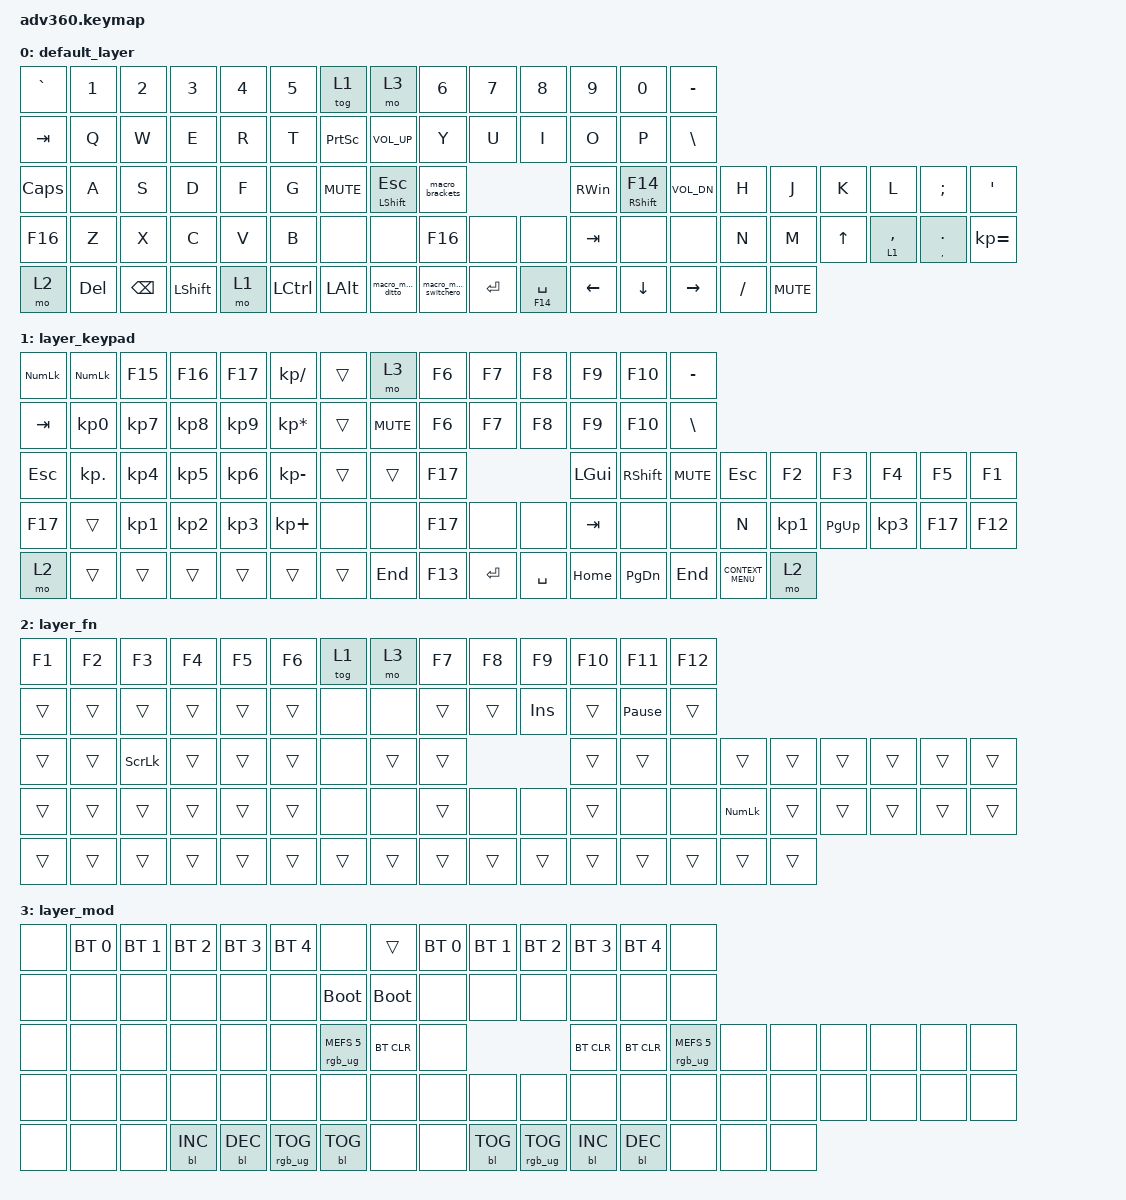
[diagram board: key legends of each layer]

/*
 * Copyright (c) 2020 The ZMK Contributors
 *
 * SPDX-License-Identifier: MIT
 */


/* THIS FILE WAS GENERATED!
 *
 * This file was generated automatically. You may or may not want to
 * edit it directly.
 */

#include <behaviors.dtsi>
#include <dt-bindings/zmk/keys.h>
#include <dt-bindings/zmk/bt.h>
#include <dt-bindings/zmk/rgb.h>
#include <dt-bindings/zmk/backlight.h>

/ {
  behaviors {
    #include "macros.dtsi"

    hm: homerow_mods {
        compatible = "zmk,behavior-hold-tap";
        label = "HOMEROW_MODS";
        #binding-cells = <2>;
        tapping-term-ms = <200>;
        quick_tap_ms = <175>;
        flavor = "tap-preferred";
        bindings = <&kp>, <&kp>;
    };
  };

    keymap {
        compatible = "zmk,keymap";


        default_layer {
            bindings = <
    &kp GRAVE      &kp N1         &kp N2          &kp N3  &kp N4            &kp N5                     &tog 1               &mo 3                  &kp N6     &kp N7         &kp N8         &kp N9               &kp N0      &kp MINUS
      &kp TAB       &kp Q          &kp W           &kp E   &kp R             &kp T            &kp PRINTSCREEN        &kp C_VOL_UP                   &kp Y      &kp U          &kp I          &kp O                &kp P  &kp BACKSLASH
 &kp CAPSLOCK       &kp A          &kp S           &kp D   &kp F             &kp G                 &kp C_MUTE  &mt LEFT_SHIFT ESC         &macro_brackets                            &kp RIGHT_WIN  &mt RIGHT_SHIFT F14   &kp C_VOL_DN      &kp H       &kp J   &kp K        &kp L          &kp SEMI       &kp SQT
      &kp F16       &kp Z          &kp X           &kp C   &kp V             &kp B                      &none               &none                 &kp F16      &none          &none        &kp TAB                &none          &none      &kp N       &kp M  &kp UP  &lt 1 COMMA  &mt COMMA PERIOD  &kp KP_EQUAL
        &mo 2  &kp DELETE  &kp BACKSPACE  &kp LEFT_SHIFT   &mo 1  &kp LEFT_CONTROL               &kp LEFT_ALT  &macro_macro_ditto  &macro_macro_switchero  &kp ENTER  &mt F14 SPACE       &kp LEFT             &kp DOWN      &kp RIGHT  &kp SLASH  &kp C_MUTE
            >;
        };

        layer_keypad {
            bindings = <
 &kp KP_NUMLOCK  &kp KP_NUM    &kp F15    &kp F16    &kp F17     &kp KP_SLASH            &trans       &mo 3   &kp F6     &kp F7     &kp F8    &kp F9          &kp F10   &kp MINUS
        &kp TAB   &kp KP_N0  &kp KP_N7  &kp KP_N8  &kp KP_N9  &kp KP_MULTIPLY            &trans  &kp C_MUTE   &kp F6     &kp F7     &kp F8    &kp F9          &kp F10    &kp BSLH
        &kp ESC  &kp KP_DOT  &kp KP_N4  &kp KP_N5  &kp KP_N6     &kp KP_MINUS            &trans      &trans  &kp F17                        &kp LGUI  &kp RIGHT_SHIFT  &kp C_MUTE             &kp ESC     &kp F2       &kp F3     &kp F4   &kp F5   &kp F1
        &kp F17      &trans  &kp KP_N1  &kp KP_N2  &kp KP_N3      &kp KP_PLUS             &none       &none  &kp F17      &none      &none   &kp TAB            &none       &none               &kp N  &kp KP_N1  &kp PAGE_UP  &kp KP_N3  &kp F17  &kp F12
          &mo 2      &trans     &trans     &trans     &trans           &trans            &trans     &kp END  &kp F13  &kp ENTER  &kp SPACE  &kp HOME    &kp PAGE_DOWN     &kp END  &kp K_CONTEXT_MENU      &mo 2
            >;
        };

        layer_fn {
            bindings = <
 &kp F1  &kp F2          &kp F3  &kp F4  &kp F5  &kp F6            &tog 1   &mo 3  &kp F7  &kp F8      &kp F9  &kp F10          &kp F11  &kp F12
 &trans  &trans          &trans  &trans  &trans  &trans             &none   &none  &trans  &trans  &kp INSERT   &trans  &kp PAUSE_BREAK   &trans
 &trans  &trans  &kp SCROLLLOCK  &trans  &trans  &trans             &none  &trans  &trans                       &trans           &trans    &none          &trans  &trans  &trans  &trans  &trans  &trans
 &trans  &trans          &trans  &trans  &trans  &trans             &none   &none  &trans   &none       &none   &trans            &none    &none  &kp KP_NUMLOCK  &trans  &trans  &trans  &trans  &trans
 &trans  &trans          &trans  &trans  &trans  &trans            &trans  &trans  &trans  &trans      &trans   &trans           &trans   &trans          &trans  &trans
            >;
        };

        layer_mod {
            bindings = <
  &none  &bt BT_SEL 0  &bt BT_SEL 1  &bt BT_SEL 2  &bt BT_SEL 3     &bt BT_SEL 4                             &none       &trans  &bt BT_SEL 0  &bt BT_SEL 1     &bt BT_SEL 2  &bt BT_SEL 3  &bt BT_SEL 4                   &none
  &none         &none         &none         &none         &none            &none                       &bootloader  &bootloader         &none         &none            &none         &none         &none                   &none
  &none         &none         &none         &none         &none            &none            &rgb_ug RGB_MEFS_CMD 5   &bt BT_CLR         &none                                   &bt BT_CLR    &bt BT_CLR  &rgb_ug RGB_MEFS_CMD 5   &none   &none   &none   &none   &none   &none
  &none         &none         &none         &none         &none            &none                             &none        &none         &none         &none            &none         &none         &none                   &none   &none   &none   &none   &none   &none   &none
  &none         &none         &none    &bl BL_INC    &bl BL_DEC  &rgb_ug RGB_TOG                        &bl BL_TOG        &none         &none    &bl BL_TOG  &rgb_ug RGB_TOG    &bl BL_INC    &bl BL_DEC                   &none   &none   &none
            >;
        };

    };
};
